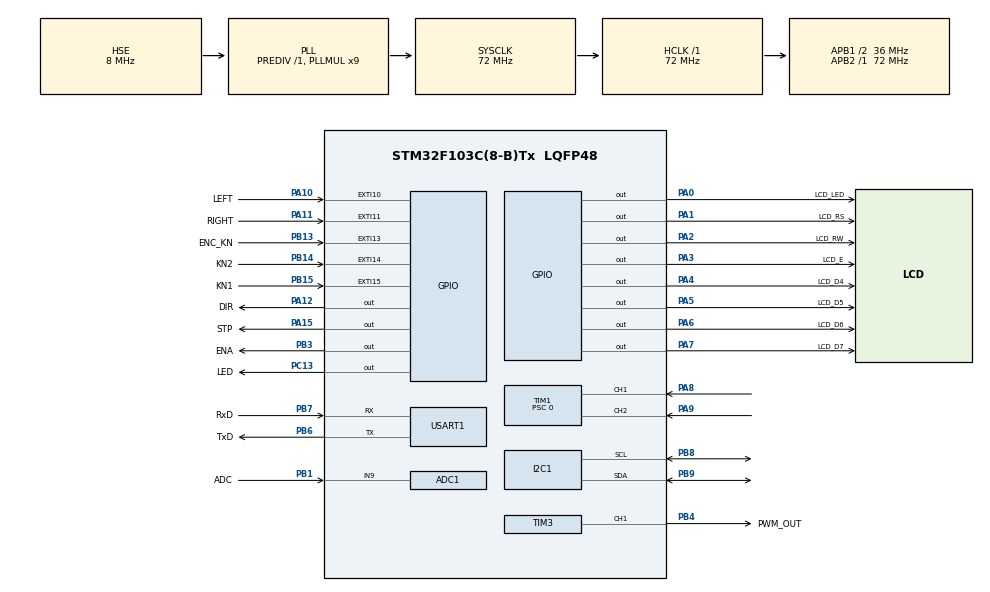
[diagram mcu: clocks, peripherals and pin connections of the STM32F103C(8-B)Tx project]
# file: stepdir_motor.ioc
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ADC1.Channel-1\#ChannelRegularConversion=ADC_CHANNEL_9
ADC1.NbrOfConversionFlag=1
ADC1.Rank-1\#ChannelRegularConversion=1
ADC1.SamplingTime-1\#ChannelRegularConversion=ADC_SAMPLETIME_1CYCLE_5
ADC1.master=1
Mcu.Family=STM32F1
Mcu.Name=STM32F103C(8-B)Tx
Mcu.Package=LQFP48
NVIC.EXTI15_10_IRQn=true\:0\:0\:true\:false\:true\:true\:true\:true
NVIC.PriorityGroup=NVIC_PRIORITYGROUP_4
PA0-WKUP.GPIO_Label=LCD_LED
PA0-WKUP.Signal=GPIO_Output
PA1.GPIO_Label=LCD_RS
PA1.Signal=GPIO_Output
PA10.GPIO_Label=LEFT
PA10.GPIO_PuPd=GPIO_PULLDOWN
PA10.Signal=GPXTI10
PA11.GPIO_Label=RIGHT
PA11.GPIO_PuPd=GPIO_PULLDOWN
PA11.Signal=GPXTI11
PA12.GPIO_Label=DIR
PA12.Signal=GPIO_Output
PA13.Mode=Serial_Wire
PA13.Signal=SYS_JTMS-SWDIO
PA14.Mode=Serial_Wire
PA14.Signal=SYS_JTCK-SWCLK
PA15.GPIO_Label=STP
PA15.Signal=GPIO_Output
PA2.GPIO_Label=LCD_RW
PA2.Signal=GPIO_Output
PA3.GPIO_Label=LCD_E
PA3.Signal=GPIO_Output
PA4.GPIO_Label=LCD_D4
PA4.Signal=GPIO_Output
PA5.GPIO_Label=LCD_D5
PA5.Signal=GPIO_Output
PA6.GPIO_Label=LCD_D6
PA6.Signal=GPIO_Output
PA7.GPIO_Label=LCD_D7
PA7.Signal=GPIO_Output
PA8.GPIO_PuPd=GPIO_PULLUP
PA8.Signal=S_TIM1_CH1
PA9.GPIO_PuPd=GPIO_PULLUP
PA9.Signal=S_TIM1_CH2
PB1.GPIO_Label=ADC
PB1.Signal=ADCx_IN9
PB13.GPIO_Label=ENC_KN
PB13.GPIO_ModeDefaultEXTI=GPIO_MODE_IT_RISING
PB13.GPIO_PuPd=GPIO_PULLDOWN
PB13.Signal=GPXTI13
PB14.GPIO_Label=KN2
PB14.GPIO_ModeDefaultEXTI=GPIO_MODE_IT_FALLING
PB14.GPIO_PuPd=GPIO_PULLDOWN
PB14.Signal=GPXTI14
PB15.GPIO_Label=KN1
PB15.GPIO_ModeDefaultEXTI=GPIO_MODE_IT_FALLING
PB15.GPIO_PuPd=GPIO_PULLDOWN
PB15.Signal=GPXTI15
PB3.GPIO_Label=ENA
PB3.Signal=GPIO_Output
PB4.GPIO_Label=PWM_OUT
PB4.Signal=S_TIM3_CH1
PB6.GPIO_Label=TxD
PB6.Mode=Asynchronous
PB6.Signal=USART1_TX
PB7.GPIO_Label=RxD
PB7.Mode=Asynchronous
PB7.Signal=USART1_RX
PB8.Mode=I2C
PB8.Signal=I2C1_SCL
PB9.Mode=I2C
PB9.Signal=I2C1_SDA
PC13-TAMPER-RTC.GPIO_Label=LED
PC13-TAMPER-RTC.Signal=GPIO_Output
PD0-OSC_IN.Mode=HSE-External-Oscillator
PD0-OSC_IN.Signal=RCC_OSC_IN
PD1-OSC_OUT.Mode=HSE-External-Oscillator
PD1-OSC_OUT.Signal=RCC_OSC_OUT
ProjectManager.HeapSize=0x200
ProjectManager.StackSize=0x400
ProjectManager.TargetToolchain=STM32CubeIDE
RCC.ADCPresc=RCC_ADCPCLK2_DIV8
RCC.AHBFreq_Value=72000000
RCC.APB1CLKDivider=RCC_HCLK_DIV2
RCC.APB1Freq_Value=36000000
RCC.APB1TimFreq_Value=72000000
RCC.APB2Freq_Value=72000000
RCC.APB2TimFreq_Value=72000000
RCC.EnbaleCSS=true
RCC.HCLKFreq_Value=72000000
RCC.PLLMUL=RCC_PLL_MUL9
RCC.PLLSourceVirtual=RCC_PLLSOURCE_HSE
RCC.SYSCLKFreq_VALUE=72000000
RCC.SYSCLKSource=RCC_SYSCLKSOURCE_PLLCLK
RCC.USBFreq_Value=72000000
SH.ADCx_IN9.0=ADC1_IN9,IN9
SH.S_TIM1_CH1.0=TIM1_CH1,Encoder_Interface
SH.S_TIM1_CH2.0=TIM1_CH2,Encoder_Interface
SH.S_TIM3_CH1.0=TIM3_CH1,Output Compare1 CH1
TIM1.IC1Filter=0
TIM1.IC2Filter=0
TIM1.Period=65535
TIM1.Prescaler=0
TIM3.Channel-Output\ Compare1\ CH1=TIM_CHANNEL_1
TIM4.Period=0xffff-1
TIM4.Prescaler=72-1
USART1.VirtualMode=VM_ASYNC
VP_TIM3_VS_ClockSourceINT.Mode=Internal
VP_TIM4_VS_ClockSourceINT.Mode=Internal
board=custom

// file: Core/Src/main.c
/* USER CODE BEGIN Header */
/**
 ******************************************************************************
 * @file           : main.c
 * @brief          : Main program body
 ******************************************************************************
 * @attention
 *
 * Copyright (c) 2025 STMicroelectronics.
 * All rights reserved.
 *
 * This software is licensed under terms that can be found in the LICENSE file
 * in the root directory of this software component.
 * If no LICENSE file comes with this software, it is provided AS-IS.
 *
 ******************************************************************************
 */
/* USER CODE END Header */
#include "main.h"

/* USER CODE BEGIN Includes */
#include "LCD1602.h"
#include "motor.h"

/* USER CODE END Includes */

ADC_HandleTypeDef hadc1;

I2C_HandleTypeDef hi2c1;

TIM_HandleTypeDef htim1;
TIM_HandleTypeDef htim3;
TIM_HandleTypeDef htim4;

UART_HandleTypeDef huart1;

void SystemClock_Config(void);
static void MX_GPIO_Init(void);
static void MX_ADC1_Init(void);
static void MX_I2C1_Init(void);
static void MX_TIM3_Init(void);
static void MX_USART1_UART_Init(void);
static void MX_TIM4_Init(void);
static void MX_TIM1_Init(void);

/* USER CODE BEGIN 0 */

uint32_t En_Counter = 0;
volatile uint8_t Position_Cur = 0;
volatile uint8_t STOP_MOTOR = 0;
volatile uint8_t flag_irq = 0;
volatile uint32_t time_irq = 0;

volatile uint32_t STPS = 1600;
volatile uint32_t DIR = 0;
volatile uint32_t TIME = 1;
volatile uint8_t FLAG = 0;
volatile uint8_t FLAG1 = 1;
volatile uint16_t enpos = 0;
//
volatile uint8_t flag1 = 1;
volatile uint8_t flag2 = 1;
volatile uint8_t flag3 = 0;
volatile uint32_t time1 = 1;
volatile uint32_t time11 = 1;

//volatile uint8_t KN_LEFT = 0;
//volatile uint8_t KN_RIGHT = 0;
volatile uint8_t KN = 0;
volatile uint8_t flag_usk = 1;

volatile uint8_t flag_test = 0;
volatile uint8_t FLAG_CHANGE_DIR = 0;
void HAL_GPIO_EXTI_Callback(uint16_t GPIO_Pin) { //Прерывание. Р

	if (GPIO_Pin == KN2_Pin) { // остановка или запуск двигателя
		NVIC->ICER[1] = (1 << (EXTI15_10_IRQn & 0x1F));
		time1 = HAL_GetTick();
		flag2 = 1;
	}
	if (GPIO_Pin == KN1_Pin) {
		NVIC->ICER[1] = (1 << (EXTI15_10_IRQn & 0x1F)); //абота в меню
		time11 = HAL_GetTick();
		flag1 = 1;

	}
}

void ext() { // Работа с прерываниями
	if (flag1 && HAL_GetTick() - time11 > 400
			&& HAL_GPIO_ReadPin(GPIOB, KN1_Pin) == 0) { //прерывание. установка курсора в меню
		Position_Cur++;
		Position_Cur = Position_Cur % 3;
		flag1 = 0;

		if (Position_Cur == 1) {
			lcd_put_cur(0, 6);
			lcd_send_string("  ");
			lcd_put_cur(1, 7);
			lcd_send_string("_");
		} else if (Position_Cur == 0) {
			lcd_put_cur(1, 7);
			lcd_send_string("  ");
			lcd_put_cur(0, 7);
			lcd_send_string("_");
		}
		else if (Position_Cur == 2){
			lcd_put_cur(1, 7);
			lcd_send_string("  ");
		}
		NVIC->ISER[1] = (1 << (EXTI15_10_IRQn & 0x1F));

	}
	if (flag2 && HAL_GetTick() - time1 > 400 // прерывание. остановка или запуск двигателя
	&& HAL_GPIO_ReadPin(GPIOB, KN2_Pin) == 0) {
		STOP_MOTOR++;
		STOP_MOTOR = STOP_MOTOR % 2;
		flag2 = 0;
		NVIC->ISER[1] = (1 << (EXTI15_10_IRQn & 0x1F));
	}
}
/* USER CODE END 0 */

int main(void) {

	/* MCU Configuration--------------------------------------------------------*/

	/* Reset of all peripherals, Initializes the Flash interface and the Systick. */
	HAL_Init();

	/* Configure the system clock */
	SystemClock_Config();

	/* Initialize all configured peripherals */
	MX_GPIO_Init();
	MX_ADC1_Init();
	MX_I2C1_Init();
	MX_TIM3_Init();
	MX_USART1_UART_Init();
	MX_TIM4_Init();
	MX_TIM1_Init();
	/* USER CODE BEGIN 2 */

	HAL_TIM_Encoder_Start(&htim1, TIM_CHANNEL_ALL);
	HAL_GPIO_WritePin(GPIOA, LCD_LED_Pin, GPIO_PIN_SET);
	HAL_TIM_Base_Start(&htim4);
	lcd_init();
	HAL_Delay(100);
	lcd_put_cur(0, 0);
	HAL_Delay(100);
	HAL_Delay(1000);
	lcd_send_string("HELLO");
	HAL_Delay(1000);
	lcd_clear();
	/* USER CODE END 2 */

	/* Infinite loop */
	/* USER CODE BEGIN WHILE */

	TIM1->ARR = 5000;
	char buff[33];
	int32_t SPEED_RPM = 10; //Скорость вращения двигателя в оборотах в минуту
	__HAL_TIM_SET_COUNTER(&htim1, 0);
	Init_Pins(GPIOB, ENA_Pin, GPIOA, STP_Pin, GPIOA, DIR_Pin); // Инициализация пинов
// ============================================================================

// ==========================ВЫВОДИМ ПАРАМЕТРЫ НА ДИСПЛЕЙ =============================
	lcd_send_cmd(0b00001100);
	HAL_Delay(10);
	lcd_put_cur(0, 0);
	DIR = 0;
	lcd_send_string("DIR:"); //направление
	if (DIR == 1) {
		lcd_send_string("CCW");
	} else {
		lcd_send_string("CW ");
	}
	HAL_Delay(5);
	lcd_put_cur(1, 0);
	lcd_send_string("RPM:");
	HAL_Delay(10);
	lcd_send_string(itoa(SPEED_RPM, buff, 10));
	lcd_put_cur(0, 7);
	lcd_send_string("_");
	HAL_Delay(100);
	HAL_GPIO_EXTI_Callback(KN1_Pin);
// ==============================================================================
	uint32_t enc_previous = 0;
	uint32_t time_of_delay = 0;
	void MENU_SET(uint8_t enc_pos, uint32_t Delay) {

		if (enc_pos != enc_previous && HAL_GetTick() - time_of_delay >= Delay) {
			switch (Position_Cur) {
			case 0:
				if (__HAL_TIM_IS_TIM_COUNTING_DOWN(&htim1)) {
					if (DIR != 1 && STOP_MOTOR == 1) FLAG_CHANGE_DIR = 1;
					DIR = 1;
				} else {
					if (DIR != 0 && STOP_MOTOR == 1) FLAG_CHANGE_DIR = 1;
					DIR = 0;
				}

				break;

			case 1:
				if (__HAL_TIM_IS_TIM_COUNTING_DOWN(&htim1)) {
					if (HAL_GPIO_ReadPin(GPIOB, ENC_KN_Pin) == GPIO_PIN_RESET) {
						SPEED_RPM = SPEED_RPM - 10;
						if (SPEED_RPM <= 0) {
							SPEED_RPM = 1;
						}

					}
					if (HAL_GPIO_ReadPin(GPIOB, ENC_KN_Pin) == GPIO_PIN_SET) {
						SPEED_RPM = SPEED_RPM - 1;
						if (SPEED_RPM <= 0) {
							SPEED_RPM = 1;
						}
					}

				} else {
					if (HAL_GPIO_ReadPin(GPIOB, ENC_KN_Pin) == GPIO_PIN_RESET) {
						SPEED_RPM = SPEED_RPM + 10;
					}
					if (HAL_GPIO_ReadPin(GPIOB, ENC_KN_Pin) == GPIO_PIN_SET) {
						SPEED_RPM = SPEED_RPM + 1;
					}
				}
				if (SPEED_RPM >= 200) SPEED_RPM = 199;
				break;
			}
			enc_previous = enc_pos;
			HAL_Delay(1);
			if (Position_Cur == 0) {

				lcd_put_cur(0, 4);
				if (DIR == 0) {
					lcd_send_string("CW ");
				} else {
					lcd_send_string("CCW");
				}

			}

			if (Position_Cur == 1) {

				lcd_put_cur(1, 4);
				lcd_send_string("   ");
				lcd_put_cur(1, 4);
				lcd_send_string(itoa(SPEED_RPM, buff, 10));
			}
			time_of_delay = HAL_GetTick();
		}
	}
// =============================================================================
	while (1) {
		/* USER CODE END WHILE */

		/* USER CODE BEGIN 3 */

		if (STOP_MOTOR == 0) { //РАБОТА В МЕНЮ

// ==================================================================
			ext();
			lcd_put_cur(1, 9);
			lcd_send_string("    ");
			lcd_put_cur(1, 9);
			lcd_send_string("OFF");
			MENU_SET(TIM1->CNT / 2, 0);

		}
		if (STOP_MOTOR == 1) {
			lcd_put_cur(1, 9);
			lcd_send_string("    ");
			HAL_Delay(100);
			lcd_put_cur(1, 9);
			lcd_send_string("ON");
			flag_usk = 1;
			while (1) {

				MENU_SET(TIM1->CNT / 2, 300);
				Motor_On();
//				MOTOR_Direction(DIR);
				Speed(SPEED_RPM);
				ext();
				Steps(10);
				if (flag_test == 1) {
					flag_test = 0;
					break;
				}
			}

		}
	}
}

/* USER CODE END 3 */

void SystemClock_Config(void) {
	RCC_OscInitTypeDef RCC_OscInitStruct = { 0 };
	RCC_ClkInitTypeDef RCC_ClkInitStruct = { 0 };
	RCC_PeriphCLKInitTypeDef PeriphClkInit = { 0 };

	/** Initializes the RCC Oscillators according to the specified parameters
	 * in the RCC_OscInitTypeDef structure.
	 */
	RCC_OscInitStruct.OscillatorType = RCC_OSCILLATORTYPE_HSE;
	RCC_OscInitStruct.HSEState = RCC_HSE_ON;
	RCC_OscInitStruct.HSEPredivValue = RCC_HSE_PREDIV_DIV1;
	RCC_OscInitStruct.HSIState = RCC_HSI_ON;
	RCC_OscInitStruct.PLL.PLLState = RCC_PLL_ON;
	RCC_OscInitStruct.PLL.PLLSource = RCC_PLLSOURCE_HSE;
	RCC_OscInitStruct.PLL.PLLMUL = RCC_PLL_MUL9;
	if (HAL_RCC_OscConfig(&RCC_OscInitStruct) != HAL_OK) {
		Error_Handler();
	}

	/** Initializes the CPU, AHB and APB buses clocks
	 */
	RCC_ClkInitStruct.ClockType = RCC_CLOCKTYPE_HCLK | RCC_CLOCKTYPE_SYSCLK
			| RCC_CLOCKTYPE_PCLK1 | RCC_CLOCKTYPE_PCLK2;
	RCC_ClkInitStruct.SYSCLKSource = RCC_SYSCLKSOURCE_PLLCLK;
	RCC_ClkInitStruct.AHBCLKDivider = RCC_SYSCLK_DIV1;
	RCC_ClkInitStruct.APB1CLKDivider = RCC_HCLK_DIV2;
	RCC_ClkInitStruct.APB2CLKDivider = RCC_HCLK_DIV1;

	if (HAL_RCC_ClockConfig(&RCC_ClkInitStruct, FLASH_LATENCY_2) != HAL_OK) {
		Error_Handler();
	}
	PeriphClkInit.PeriphClockSelection = RCC_PERIPHCLK_ADC;
	PeriphClkInit.AdcClockSelection = RCC_ADCPCLK2_DIV8;
	if (HAL_RCCEx_PeriphCLKConfig(&PeriphClkInit) != HAL_OK) {
		Error_Handler();
	}

	/** Enables the Clock Security System
	 */
	HAL_RCC_EnableCSS();
}

static void MX_ADC1_Init(void) {

	ADC_ChannelConfTypeDef sConfig = { 0 };

	/** Common config
	 */
	hadc1.Instance = ADC1;
	hadc1.Init.ScanConvMode = ADC_SCAN_DISABLE;
	hadc1.Init.ContinuousConvMode = DISABLE;
	hadc1.Init.DiscontinuousConvMode = DISABLE;
	hadc1.Init.ExternalTrigConv = ADC_SOFTWARE_START;
	hadc1.Init.DataAlign = ADC_DATAALIGN_RIGHT;
	hadc1.Init.NbrOfConversion = 1;
	if (HAL_ADC_Init(&hadc1) != HAL_OK) {
		Error_Handler();
	}

	/** Configure Regular Channel
	 */
	sConfig.Channel = ADC_CHANNEL_9;
	sConfig.Rank = ADC_REGULAR_RANK_1;
	sConfig.SamplingTime = ADC_SAMPLETIME_1CYCLE_5;
	if (HAL_ADC_ConfigChannel(&hadc1, &sConfig) != HAL_OK) {
		Error_Handler();
	}

}

static void MX_I2C1_Init(void) {

	hi2c1.Instance = I2C1;
	hi2c1.Init.ClockSpeed = 100000;
	hi2c1.Init.DutyCycle = I2C_DUTYCYCLE_2;
	hi2c1.Init.OwnAddress1 = 0;
	hi2c1.Init.AddressingMode = I2C_ADDRESSINGMODE_7BIT;
	hi2c1.Init.DualAddressMode = I2C_DUALADDRESS_DISABLE;
	hi2c1.Init.OwnAddress2 = 0;
	hi2c1.Init.GeneralCallMode = I2C_GENERALCALL_DISABLE;
	hi2c1.Init.NoStretchMode = I2C_NOSTRETCH_DISABLE;
	if (HAL_I2C_Init(&hi2c1) != HAL_OK) {
		Error_Handler();
	}

}

static void MX_TIM1_Init(void) {

	TIM_Encoder_InitTypeDef sConfig = { 0 };
	TIM_MasterConfigTypeDef sMasterConfig = { 0 };

	htim1.Instance = TIM1;
	htim1.Init.Prescaler = 0;
	htim1.Init.CounterMode = TIM_COUNTERMODE_UP;
	htim1.Init.Period = 65535;
	htim1.Init.ClockDivision = TIM_CLOCKDIVISION_DIV1;
	htim1.Init.RepetitionCounter = 0;
	htim1.Init.AutoReloadPreload = TIM_AUTORELOAD_PRELOAD_DISABLE;
	sConfig.EncoderMode = TIM_ENCODERMODE_TI1;
	sConfig.IC1Polarity = TIM_ICPOLARITY_RISING;
	sConfig.IC1Selection = TIM_ICSELECTION_DIRECTTI;
	sConfig.IC1Prescaler = TIM_ICPSC_DIV1;
	sConfig.IC1Filter = 0;
	sConfig.IC2Polarity = TIM_ICPOLARITY_RISING;
	sConfig.IC2Selection = TIM_ICSELECTION_DIRECTTI;
	sConfig.IC2Prescaler = TIM_ICPSC_DIV1;
	sConfig.IC2Filter = 0;
	if (HAL_TIM_Encoder_Init(&htim1, &sConfig) != HAL_OK) {
		Error_Handler();
	}
	sMasterConfig.MasterOutputTrigger = TIM_TRGO_RESET;
	sMasterConfig.MasterSlaveMode = TIM_MASTERSLAVEMODE_DISABLE;
	if (HAL_TIMEx_MasterConfigSynchronization(&htim1, &sMasterConfig)
			!= HAL_OK) {
		Error_Handler();
	}

}

static void MX_TIM3_Init(void) {

	TIM_ClockConfigTypeDef sClockSourceConfig = { 0 };
	TIM_MasterConfigTypeDef sMasterConfig = { 0 };
	TIM_OC_InitTypeDef sConfigOC = { 0 };

	htim3.Instance = TIM3;
	htim3.Init.Prescaler = 0;
	htim3.Init.CounterMode = TIM_COUNTERMODE_UP;
	htim3.Init.Period = 65535;
	htim3.Init.ClockDivision = TIM_CLOCKDIVISION_DIV1;
	htim3.Init.AutoReloadPreload = TIM_AUTORELOAD_PRELOAD_DISABLE;
	if (HAL_TIM_Base_Init(&htim3) != HAL_OK) {
		Error_Handler();
	}
	sClockSourceConfig.ClockSource = TIM_CLOCKSOURCE_INTERNAL;
	if (HAL_TIM_ConfigClockSource(&htim3, &sClockSourceConfig) != HAL_OK) {
		Error_Handler();
	}
	if (HAL_TIM_OC_Init(&htim3) != HAL_OK) {
		Error_Handler();
	}
	sMasterConfig.MasterOutputTrigger = TIM_TRGO_RESET;
	sMasterConfig.MasterSlaveMode = TIM_MASTERSLAVEMODE_DISABLE;
	if (HAL_TIMEx_MasterConfigSynchronization(&htim3, &sMasterConfig)
			!= HAL_OK) {
		Error_Handler();
	}
	sConfigOC.OCMode = TIM_OCMODE_TIMING;
	sConfigOC.Pulse = 0;
	sConfigOC.OCPolarity = TIM_OCPOLARITY_HIGH;
	sConfigOC.OCFastMode = TIM_OCFAST_DISABLE;
	if (HAL_TIM_OC_ConfigChannel(&htim3, &sConfigOC, TIM_CHANNEL_1) != HAL_OK) {
		Error_Handler();
	}
	HAL_TIM_MspPostInit(&htim3);

}

static void MX_TIM4_Init(void) {

	TIM_ClockConfigTypeDef sClockSourceConfig = { 0 };
	TIM_MasterConfigTypeDef sMasterConfig = { 0 };

	htim4.Instance = TIM4;
	htim4.Init.Prescaler = 72 - 1;
	htim4.Init.CounterMode = TIM_COUNTERMODE_UP;
	htim4.Init.Period = 0xffff - 1;
	htim4.Init.ClockDivision = TIM_CLOCKDIVISION_DIV1;
	htim4.Init.AutoReloadPreload = TIM_AUTORELOAD_PRELOAD_DISABLE;
	if (HAL_TIM_Base_Init(&htim4) != HAL_OK) {
		Error_Handler();
	}
	sClockSourceConfig.ClockSource = TIM_CLOCKSOURCE_INTERNAL;
	if (HAL_TIM_ConfigClockSource(&htim4, &sClockSourceConfig) != HAL_OK) {
		Error_Handler();
	}
	sMasterConfig.MasterOutputTrigger = TIM_TRGO_RESET;
	sMasterConfig.MasterSlaveMode = TIM_MASTERSLAVEMODE_DISABLE;
	if (HAL_TIMEx_MasterConfigSynchronization(&htim4, &sMasterConfig)
			!= HAL_OK) {
		Error_Handler();
	}

}

static void MX_USART1_UART_Init(void) {

	huart1.Instance = USART1;
	huart1.Init.BaudRate = 115200;
	huart1.Init.WordLength = UART_WORDLENGTH_8B;
	huart1.Init.StopBits = UART_STOPBITS_1;
	huart1.Init.Parity = UART_PARITY_NONE;
	huart1.Init.Mode = UART_MODE_TX_RX;
	huart1.Init.HwFlowCtl = UART_HWCONTROL_NONE;
	huart1.Init.OverSampling = UART_OVERSAMPLING_16;
	if (HAL_UART_Init(&huart1) != HAL_OK) {
		Error_Handler();
	}

}

static void MX_GPIO_Init(void) {
	GPIO_InitTypeDef GPIO_InitStruct = { 0 };

	/* GPIO Ports Clock Enable */
	__HAL_RCC_GPIOC_CLK_ENABLE();
	__HAL_RCC_GPIOD_CLK_ENABLE();
	__HAL_RCC_GPIOA_CLK_ENABLE();
	__HAL_RCC_GPIOB_CLK_ENABLE();

	/*Configure GPIO pin Output Level */
	HAL_GPIO_WritePin(LED_GPIO_Port, LED_Pin, GPIO_PIN_RESET);

	/*Configure GPIO pin Output Level */
	HAL_GPIO_WritePin(GPIOA,
			LCD_LED_Pin | LCD_RS_Pin | LCD_RW_Pin | LCD_E_Pin | LCD_D4_Pin
					| LCD_D5_Pin | LCD_D6_Pin | LCD_D7_Pin | DIR_Pin | STP_Pin,
			GPIO_PIN_RESET);

	/*Configure GPIO pin Output Level */
	HAL_GPIO_WritePin(ENA_GPIO_Port, ENA_Pin, GPIO_PIN_RESET);

	/*Configure GPIO pin : LED_Pin */
	GPIO_InitStruct.Pin = LED_Pin;
	GPIO_InitStruct.Mode = GPIO_MODE_OUTPUT_PP;
	GPIO_InitStruct.Pull = GPIO_NOPULL;
	GPIO_InitStruct.Speed = GPIO_SPEED_FREQ_LOW;
	HAL_GPIO_Init(LED_GPIO_Port, &GPIO_InitStruct);

	/*Configure GPIO pins : LCD_LED_Pin LCD_RS_Pin LCD_RW_Pin LCD_E_Pin
	 LCD_D4_Pin LCD_D5_Pin LCD_D6_Pin LCD_D7_Pin
	 DIR_Pin STP_Pin */
	GPIO_InitStruct.Pin = LCD_LED_Pin | LCD_RS_Pin | LCD_RW_Pin | LCD_E_Pin
			| LCD_D4_Pin | LCD_D5_Pin | LCD_D6_Pin | LCD_D7_Pin | DIR_Pin
			| STP_Pin;
	GPIO_InitStruct.Mode = GPIO_MODE_OUTPUT_PP;
	GPIO_InitStruct.Pull = GPIO_NOPULL;
	GPIO_InitStruct.Speed = GPIO_SPEED_FREQ_LOW;
	HAL_GPIO_Init(GPIOA, &GPIO_InitStruct);

	/*Configure GPIO pin : ENC_KN_Pin */
	GPIO_InitStruct.Pin = ENC_KN_Pin;
	GPIO_InitStruct.Mode = GPIO_MODE_IT_RISING;
	GPIO_InitStruct.Pull = GPIO_PULLDOWN;
	HAL_GPIO_Init(ENC_KN_GPIO_Port, &GPIO_InitStruct);

	/*Configure GPIO pins : KN2_Pin KN1_Pin */
	GPIO_InitStruct.Pin = KN2_Pin | KN1_Pin;
	GPIO_InitStruct.Mode = GPIO_MODE_IT_FALLING;
	GPIO_InitStruct.Pull = GPIO_PULLDOWN;
	HAL_GPIO_Init(GPIOB, &GPIO_InitStruct);

	/*Configure GPIO pins : LEFT_Pin RIGHT_Pin */
	GPIO_InitStruct.Pin = LEFT_Pin | RIGHT_Pin;
	GPIO_InitStruct.Mode = GPIO_MODE_IT_RISING;
	GPIO_InitStruct.Pull = GPIO_PULLDOWN;
	HAL_GPIO_Init(GPIOA, &GPIO_InitStruct);

	/*Configure GPIO pin : ENA_Pin */
	GPIO_InitStruct.Pin = ENA_Pin;
	GPIO_InitStruct.Mode = GPIO_MODE_OUTPUT_PP;
	GPIO_InitStruct.Pull = GPIO_NOPULL;
	GPIO_InitStruct.Speed = GPIO_SPEED_FREQ_LOW;
	HAL_GPIO_Init(ENA_GPIO_Port, &GPIO_InitStruct);

	/* EXTI interrupt init*/
	HAL_NVIC_SetPriority(EXTI15_10_IRQn, 0, 0);
	HAL_NVIC_EnableIRQ(EXTI15_10_IRQn);

}

void Error_Handler(void) {
	__disable_irq();
	while (1) {
	}
}
